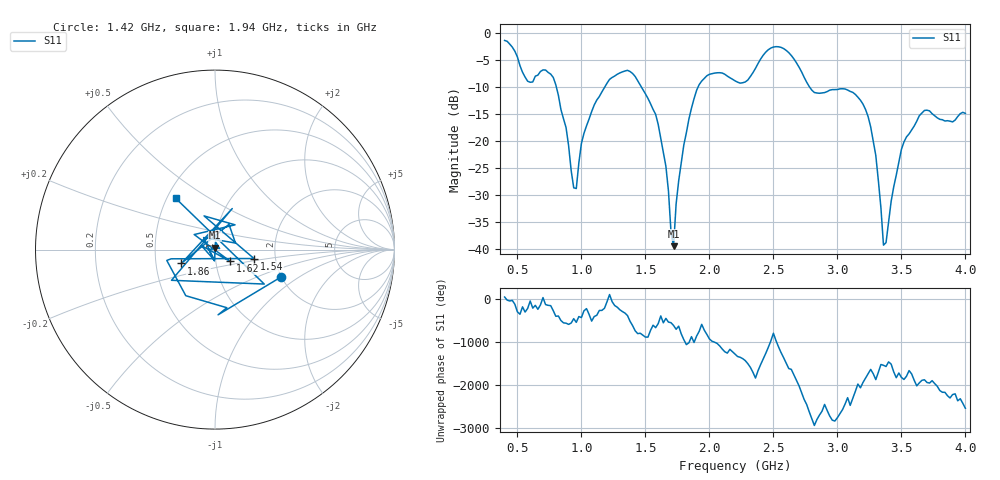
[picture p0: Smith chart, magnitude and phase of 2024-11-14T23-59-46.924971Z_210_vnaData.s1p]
!Created with skrf (http://scikit-rf.org).
# Hz S RI R 50.0
!freq ReS11 ImS11
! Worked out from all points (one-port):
!   181 points, 400 MHz to 4 GHz, reference 50 ohm
!   lowest |S11| = -39.4 dB at 1.72 GHz (marker M1), VSWR 1.02, Z = 49.8 + j1.04 ohm
!   |S11| at or under -10 dB: 804.9 MHz to 1.181 GHz (376.2 MHz wide, 37.9 % of centre); 1.471 GHz to 1.911 GHz (440 MHz wide, 26 % of centre); 2.784 GHz to end of sweep
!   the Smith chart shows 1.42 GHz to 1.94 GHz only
!   S11 on the Smith chart (normalised r, x): 1.42 GHz: 1.99, -0.72; 1.54 GHz: 1.54, -0.16; 1.62 GHz: 1.17, -0.15; 1.86 GHz: 0.68, -0.11; 1.94 GHz: 0.55, +0.37
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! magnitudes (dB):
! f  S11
! 400 MHz  -1.3
! 580 MHz  -8.9
! 780 MHz  -8.2
! 860 MHz  -15.8
! 960 MHz  -28.8
! 1 GHz  -20.4
! 1.08 GHz  -14.5
! 1.3 GHz  -7.3
! 1.42 GHz  -8.0
! 1.54 GHz  -13.0
! 1.62 GHz  -19.5
! 1.66 GHz  -24.6
! 1.72 GHz  -39.4
! 1.76 GHz  -27.3
! 1.86 GHz  -13.9
! 1.94 GHz  -8.8
! 2.2 GHz  -8.8
! 2.5 GHz  -2.5
! 2.66 GHz  -4.7
! 2.82 GHz  -11.0
! 3.1 GHz  -10.8
! 3.26 GHz  -17.3
! 3.3 GHz  -22.6
! 3.36 GHz  -39.3
! 3.5 GHz  -21.5
! 3.56 GHz  -18.6
! 3.68 GHz  -14.3
! 4 GHz  -14.8
